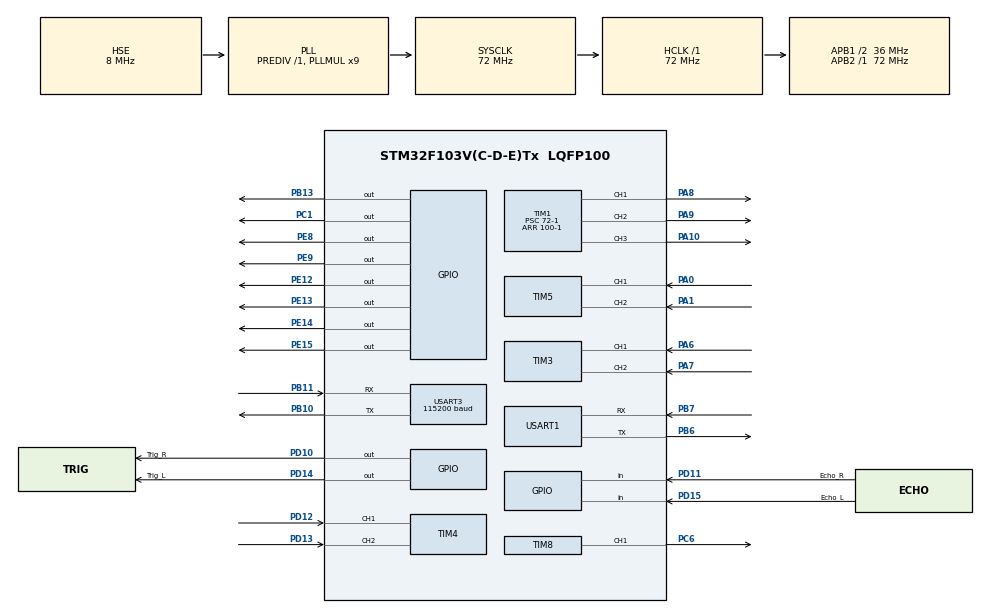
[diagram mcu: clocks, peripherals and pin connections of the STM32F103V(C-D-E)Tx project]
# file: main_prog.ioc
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Mcu.Family=STM32F1
Mcu.Name=STM32F103V(C-D-E)Tx
Mcu.Package=LQFP100
NVIC.PriorityGroup=NVIC_PRIORITYGROUP_4
OSC_IN.Mode=HSE-External-Oscillator
OSC_IN.Signal=RCC_OSC_IN
OSC_OUT.Mode=HSE-External-Oscillator
OSC_OUT.Signal=RCC_OSC_OUT
PA0-WKUP.Signal=S_TIM5_CH1
PA1.Signal=S_TIM5_CH2
PA10.Signal=S_TIM1_CH3
PA13.Mode=Serial_Wire
PA13.Signal=SYS_JTMS-SWDIO
PA14.Mode=Serial_Wire
PA14.Signal=SYS_JTCK-SWCLK
PA6.Signal=S_TIM3_CH1
PA7.Signal=S_TIM3_CH2
PA8.Signal=S_TIM1_CH1
PA9.Signal=S_TIM1_CH2
PB10.Mode=Asynchronous
PB10.Signal=USART3_TX
PB11.Mode=Asynchronous
PB11.Signal=USART3_RX
PB13.Signal=GPIO_Output
PB6.Mode=Asynchronous
PB6.Signal=USART1_TX
PB7.Mode=Asynchronous
PB7.Signal=USART1_RX
PC1.Signal=GPIO_Output
PC14-OSC32_IN.Mode=LSE-External-Oscillator
PC14-OSC32_IN.Signal=RCC_OSC32_IN
PC15-OSC32_OUT.Mode=LSE-External-Oscillator
PC15-OSC32_OUT.Signal=RCC_OSC32_OUT
PC6.Signal=S_TIM8_CH1
PD10.GPIO_Label=Trig_R
PD10.GPIO_PuPd=GPIO_PULLUP
PD10.GPIO_Speed=GPIO_SPEED_FREQ_HIGH
PD10.PinState=GPIO_PIN_RESET
PD10.Signal=GPIO_Output
PD11.GPIO_Label=Echo_R
PD11.GPIO_PuPd=GPIO_PULLUP
PD11.Signal=GPIO_Input
PD12.Signal=S_TIM4_CH1
PD13.Signal=S_TIM4_CH2
PD14.GPIO_Label=Trig_L
PD14.GPIO_PuPd=GPIO_PULLUP
PD14.GPIO_Speed=GPIO_SPEED_FREQ_HIGH
PD14.Signal=GPIO_Output
PD15.GPIO_Label=Echo_L
PD15.GPIO_PuPd=GPIO_PULLUP
PD15.Signal=GPIO_Input
PE12.Signal=GPIO_Output
PE13.Signal=GPIO_Output
PE14.Signal=GPIO_Output
PE15.Signal=GPIO_Output
PE8.Signal=GPIO_Output
PE9.Signal=GPIO_Output
ProjectManager.HeapSize=0x200
ProjectManager.StackSize=0x400
ProjectManager.TargetToolchain=STM32CubeIDE
RCC.AHBFreq_Value=72000000
RCC.APB1CLKDivider=RCC_HCLK_DIV2
RCC.APB1Freq_Value=36000000
RCC.APB1TimFreq_Value=72000000
RCC.APB2Freq_Value=72000000
RCC.APB2TimFreq_Value=72000000
RCC.HCLKFreq_Value=72000000
RCC.PLLMUL=RCC_PLL_MUL9
RCC.PLLSourceVirtual=RCC_PLLSOURCE_HSE
RCC.SYSCLKFreq_VALUE=72000000
RCC.SYSCLKSource=RCC_SYSCLKSOURCE_PLLCLK
RCC.USBFreq_Value=72000000
SH.S_TIM1_CH1.0=TIM1_CH1,PWM Generation1 CH1
SH.S_TIM1_CH2.0=TIM1_CH2,PWM Generation2 CH2
SH.S_TIM1_CH3.0=TIM1_CH3,PWM Generation3 CH3
SH.S_TIM3_CH1.0=TIM3_CH1,Encoder_Interface
SH.S_TIM3_CH2.0=TIM3_CH2,Encoder_Interface
SH.S_TIM4_CH1.0=TIM4_CH1,Encoder_Interface
SH.S_TIM4_CH2.0=TIM4_CH2,Encoder_Interface
SH.S_TIM5_CH1.0=TIM5_CH1,Encoder_Interface
SH.S_TIM5_CH2.0=TIM5_CH2,Encoder_Interface
SH.S_TIM8_CH1.0=TIM8_CH1,PWM Generation1 CH1
TIM1.Channel-PWM\ Generation1\ CH1=TIM_CHANNEL_1
TIM1.Channel-PWM\ Generation2\ CH2=TIM_CHANNEL_2
TIM1.Channel-PWM\ Generation3\ CH3=TIM_CHANNEL_3
TIM1.Period=100-1
TIM1.Prescaler=72-1
TIM1.Pulse-PWM\ Generation1\ CH1=100
TIM1.Pulse-PWM\ Generation2\ CH2=100
TIM1.Pulse-PWM\ Generation3\ CH3=100
TIM3.EncoderMode=TIM_ENCODERMODE_TI12
TIM4.EncoderMode=TIM_ENCODERMODE_TI12
TIM5.EncoderMode=TIM_ENCODERMODE_TI12
TIM6.Prescaler=7200-1
TIM7.Prescaler=72-1
TIM8.Channel-PWM\ Generation1\ CH1=TIM_CHANNEL_1
TIM8.Period=2000-1
TIM8.Prescaler=720-1
TIM8.Pulse-PWM\ Generation1\ CH1=1000-1
USART1.VirtualMode=VM_ASYNC
USART3.BaudRate=115200
USART3.VirtualMode=VM_ASYNC
VP_TIM1_VS_ClockSourceINT.Mode=Internal
VP_TIM6_VS_ClockSourceINT.Mode=Enable_Timer
VP_TIM7_VS_ClockSourceINT.Mode=Enable_Timer
VP_TIM8_VS_ClockSourceINT.Mode=Internal
board=custom

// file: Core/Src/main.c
/* USER CODE BEGIN Header */
/**
 ******************************************************************************
 * @file           : main.c
 * @brief          : Main program body
 ******************************************************************************
 * @attention
 *
 * Copyright (c) 2024 STMicroelectronics.
 * All rights reserved.
 *
 * This software is licensed under terms that can be found in the LICENSE file
 * in the root directory of this software component.
 * If no LICENSE file comes with this software, it is provided AS-IS.
 *
 ******************************************************************************
 */
/* USER CODE END Header */
#include "main.h"
#include "tim.h"
#include "usart.h"
#include "gpio.h"

/* USER CODE BEGIN Includes */
#include "motor.h"
#include "PID.h"
#include "message.h"
#include "tick.h"
#include "stm32f1xx_hal.h"
#include "ultra.h"
#include <string.h>
/* USER CODE END Includes */

void SystemClock_Config(void);

int main(void) {

	/* MCU Configuration--------------------------------------------------------*/

	/* Reset of all peripherals, Initializes the Flash interface and the Systick. */
	HAL_Init();

	/* Configure the system clock */
	SystemClock_Config();

	/* Initialize all configured peripherals */
	MX_GPIO_Init();
	MX_TIM1_Init();
	MX_TIM3_Init();
	MX_TIM4_Init();
	MX_TIM5_Init();
	MX_TIM8_Init();
	MX_TIM6_Init();
	MX_USART3_UART_Init();
	MX_USART1_UART_Init();
	MX_TIM7_Init();
	/* USER CODE BEGIN 2 */
	const uint32_t dangerous_distance = 10;
	const uint32_t safe_distance = 20;

	uint8_t buffer[23] = { 0, 0, 0, 0, 0, 0, 0, 5, 1, 1, 100, 1, 10, 20, 0, 5,
			1, 1, 100, 1, 10, 20, 0 }; //buffer used to receive messages
	uint8_t buffer_0x80 = 0; //buffer used to receive 0x80
	struct PID_struct PID_obj_1;
	struct PID_struct PID_obj_2;

	uint8_t distance[2];
	uint8_t urgent_flag = 0;

	PID_init(&PID_obj_1, buffer[7], buffer[8], buffer[9], buffer[10],
			buffer[11], buffer[12], buffer[13]);
	PID_init(&PID_obj_2, buffer[15], buffer[16], buffer[17], buffer[18],
			buffer[19], buffer[20], buffer[21]);

	motor_init();
	HAL_TIM_Base_Start(&htim6);
	HAL_GPIO_WritePin(GPIOB, GPIO_PIN_13, SET);

	/* USER CODE END 2 */

	/* Infinite loop */
	while (1) {

		/* USER CODE BEGIN 3 */

		//receive controlling message
		const uint8_t max_attempt = 5;
		for (uint8_t attempt_count = 0; attempt_count < max_attempt;
				++attempt_count) {
			HAL_UART_Receive(&huart3, &buffer_0x80, 1, 500);
			if (buffer_0x80 == 0x80) {
				HAL_UART_Receive(&huart3, buffer, 23, 500);
				break;
			}
		}

		//urgency dealing
		if (urgent_flag == 1) {
			buffer[1] = -80;
			buffer[2] = 80;
		} else if (urgent_flag == 2) {
			buffer[1] = 80;
			buffer[2] = -80;
		}
		//soft restart
		if (buffer[0] == 1) {
			PID_obj_1.integral = 0;
			PID_obj_1.integral = 0;
		}

		PID_change_para(&PID_obj_1, buffer[7], buffer[8], buffer[9], buffer[10],
				buffer[11], buffer[12], buffer[13]);
		PID_change_para(&PID_obj_2, buffer[15], buffer[16], buffer[17],
				buffer[18], buffer[19], buffer[20], buffer[21]);

		const uint8_t head_length = 4;
		uint8_t head[head_length];
		memset(head, 128, head_length);
		HAL_UART_Transmit(&huart3, head, head_length, 50);

		const uint8_t empty_length = 8;
		uint8_t empty[empty_length];
		memset(empty, 0, empty_length);

		HAL_UART_Transmit(&huart3, buffer, 28, 200);

		uint32_t real_tick_2;
		uint16_t encoder_CNT_2 = get_encoder_CNT(2, &real_tick_2);
		set_motor_speed(2,
				PID_vel(&PID_obj_2, buffer[2], encoder_CNT_2, real_tick_2));

		//send feedback messages
		HAL_UART_Transmit(&huart3, (uint8_t*) (&real_tick_2), 4, 50);
		HAL_UART_Transmit(&huart3, (uint8_t*) (&encoder_CNT_2), 2, 50);
		HAL_UART_Transmit(&huart3, empty, 2, 50);
		HAL_UART_Transmit(&huart3, (uint8_t*) (&PID_obj_2.actual_val), 4, 50);
		HAL_UART_Transmit(&huart3, (uint8_t*) (&PID_obj_2.target_val), 4, 50);
		HAL_UART_Transmit(&huart3, (uint8_t*) (&PID_obj_2.output_val), 4, 50);
		HAL_UART_Transmit(&huart3, (uint8_t*) (&PID_obj_2.integral), 4, 50);
		HAL_UART_Transmit(&huart3, empty, 8, 50);

		uint32_t real_tick_1;
		uint16_t encoder_CNT_1 = get_encoder_CNT(1, &real_tick_1);
		set_motor_speed(1,
				PID_vel(&PID_obj_1, buffer[1], encoder_CNT_1, real_tick_1));

		//send feedback messages
		HAL_UART_Transmit(&huart3, (uint8_t*) (&real_tick_1), 4, 50);
		HAL_UART_Transmit(&huart3, (uint8_t*) (&encoder_CNT_1), 2, 50);
		HAL_UART_Transmit(&huart3, empty, 2, 50);
		HAL_UART_Transmit(&huart3, (uint8_t*) (&PID_obj_1.actual_val), 4, 50);
		HAL_UART_Transmit(&huart3, (uint8_t*) (&PID_obj_1.target_val), 4, 50);
		HAL_UART_Transmit(&huart3, (uint8_t*) (&PID_obj_1.output_val), 4, 50);
		HAL_UART_Transmit(&huart3, (uint8_t*) (&PID_obj_1.integral), 4, 50);
		HAL_UART_Transmit(&huart3, empty, 8, 50);

//		//integral num decrease
//		PID_obj_1.integral -= PID_obj_1.integral >> 12;
//		PID_obj_2.integral -= PID_obj_2.integral >> 12;

		if (PID_obj_1.target_val == 0) {
			PID_obj_1.integral = 0;
		}
		if (PID_obj_2.target_val == 0) {
			PID_obj_2.integral = 0;
		}

		//control the brush and servo motor
		if (buffer[3]) {
			set_motor_speed(3, 80);
		} else {
			set_motor_speed(3, 0);
		}
		if (buffer[4]) {
			set_servo_angle(250);
		} else {
			set_servo_angle(150);
		}

		//urgency dealing
		get_distance(distance, 0);
		if ((distance[0] <= dangerous_distance
				|| distance[1] <= dangerous_distance) && urgent_flag == 0) {
			if (distance[0] > distance[1]) {
				urgent_flag = 1;
			} else {
				urgent_flag = 2;
			}
		} else if ((distance[0] >= safe_distance && distance[1] >= safe_distance)
				&& urgent_flag != 0) {
			urgent_flag = 0;
		} else {
		}
		//time controller
		while (__HAL_TIM_GET_COUNTER(&htim6) < 100) {
		}
		__HAL_TIM_SET_COUNTER(&htim6, 0);
	}
	/* USER CODE END 3 */
}

void SystemClock_Config(void) {
	RCC_OscInitTypeDef RCC_OscInitStruct = { 0 };
	RCC_ClkInitTypeDef RCC_ClkInitStruct = { 0 };

	/** Initializes the RCC Oscillators according to the specified parameters
	 * in the RCC_OscInitTypeDef structure.
	 */
	RCC_OscInitStruct.OscillatorType = RCC_OSCILLATORTYPE_HSE;
	RCC_OscInitStruct.HSEState = RCC_HSE_ON;
	RCC_OscInitStruct.HSEPredivValue = RCC_HSE_PREDIV_DIV1;
	RCC_OscInitStruct.HSIState = RCC_HSI_ON;
	RCC_OscInitStruct.PLL.PLLState = RCC_PLL_ON;
	RCC_OscInitStruct.PLL.PLLSource = RCC_PLLSOURCE_HSE;
	RCC_OscInitStruct.PLL.PLLMUL = RCC_PLL_MUL9;
	if (HAL_RCC_OscConfig(&RCC_OscInitStruct) != HAL_OK) {
		Error_Handler();
	}

	/** Initializes the CPU, AHB and APB buses clocks
	 */
	RCC_ClkInitStruct.ClockType = RCC_CLOCKTYPE_HCLK | RCC_CLOCKTYPE_SYSCLK
			| RCC_CLOCKTYPE_PCLK1 | RCC_CLOCKTYPE_PCLK2;
	RCC_ClkInitStruct.SYSCLKSource = RCC_SYSCLKSOURCE_PLLCLK;
	RCC_ClkInitStruct.AHBCLKDivider = RCC_SYSCLK_DIV1;
	RCC_ClkInitStruct.APB1CLKDivider = RCC_HCLK_DIV2;
	RCC_ClkInitStruct.APB2CLKDivider = RCC_HCLK_DIV1;

	if (HAL_RCC_ClockConfig(&RCC_ClkInitStruct, FLASH_LATENCY_2) != HAL_OK) {
		Error_Handler();
	}
}

void Error_Handler(void) {
	__disable_irq();
	while (1) {
	}
}
